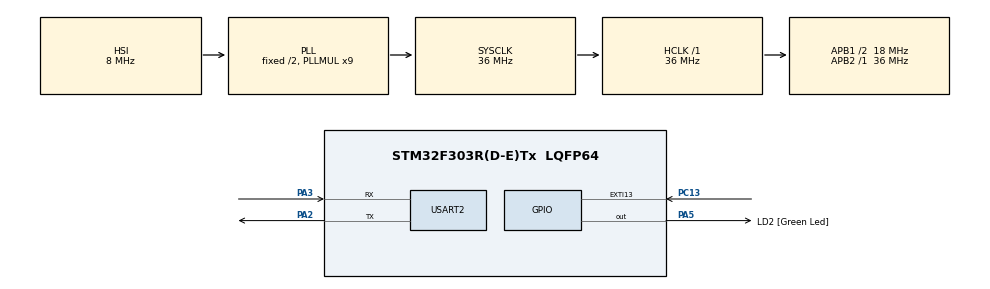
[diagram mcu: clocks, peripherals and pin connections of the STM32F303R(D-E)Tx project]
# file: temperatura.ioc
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Mcu.Family=STM32F3
Mcu.Name=STM32F303R(D-E)Tx
Mcu.Package=LQFP64
NVIC.PriorityGroup=NVIC_PRIORITYGROUP_1
NVIC.USART2_IRQn=true\:1\:0\:true\:false\:true\:true\:true\:true
PA13.GPIO_Label=TMS
PA13.Mode=Serial_Wire
PA13.Signal=SYS_JTMS-SWDIO
PA14.GPIO_Label=TCK
PA14.Mode=Serial_Wire
PA14.Signal=SYS_JTCK-SWCLK
PA2.Mode=Asynchronous
PA2.Signal=USART2_TX
PA3.Mode=Asynchronous
PA3.Signal=USART2_RX
PA5.GPIO_Label=LD2 [Green Led]
PA5.GPIO_Mode=GPIO_MODE_OUTPUT_PP
PA5.GPIO_PuPd=GPIO_NOPULL
PA5.GPIO_Speed=GPIO_SPEED_FREQ_LOW
PA5.Signal=GPIO_Output
PB3.GPIO_Label=SWO
PB3.Signal=SYS_JTDO-TRACESWO
PC13.GPIO_ModeDefaultEXTI=GPIO_MODE_IT_RISING
PC13.GPIO_PuPd=GPIO_PULLDOWN
PC13.Signal=GPXTI13
PC14-OSC32_IN.Mode=LSE-External-Oscillator
PC14-OSC32_IN.Signal=RCC_OSC32_IN
PC15-OSC32_OUT.Mode=LSE-External-Oscillator
PC15-OSC32_OUT.Signal=RCC_OSC32_OUT
PF0-OSC_IN.Mode=HSE-External-Clock-Source
PF0-OSC_IN.Signal=RCC_OSC_IN
PF1-OSC_OUT.Signal=RCC_OSC_OUT
ProjectManager.HeapSize=0x200
ProjectManager.StackSize=0x400
ProjectManager.TargetToolchain=STM32CubeIDE
RCC.AHBFreq_Value=36000000
RCC.APB1CLKDivider=RCC_HCLK_DIV2
RCC.APB1Freq_Value=18000000
RCC.APB1TimFreq_Value=36000000
RCC.APB2Freq_Value=36000000
RCC.APB2TimFreq_Value=36000000
RCC.CortexFreq_Value=36000000
RCC.HCLKFreq_Value=36000000
RCC.HSE_VALUE=8000000
RCC.HSI_VALUE=8000000
RCC.PLLM=8
RCC.PLLMUL=RCC_PLL_MUL9
RCC.PLLN=336
RCC.PLLP=RCC_PLLP_DIV4
RCC.PLLQ=7
RCC.RCC_PLLsource_Clock_Source_FROM_HSE=RCC_HSE_PREDIV_DIV2
RCC.SYSCLKFreq_VALUE=36000000
RCC.SYSCLKSourceVirtual=RCC_SYSCLKSOURCE_PLLCLK
RCC.USBFreq_Value=36000000
USART2.VirtualMode-Asynchronous=VM_ASYNC
board=NUCLEO-F303RE

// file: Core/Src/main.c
/* USER CODE BEGIN Header */
/**
  ******************************************************************************
  * @file           : main.c
  * @brief          : Main program body
  ******************************************************************************
  * @attention
  *
  * Copyright (c) 2024 STMicroelectronics.
  * All rights reserved.
  *
  * This software is licensed under terms that can be found in the LICENSE file
  * in the root directory of this software component.
  * If no LICENSE file comes with this software, it is provided AS-IS.
  *
  ******************************************************************************
  */
/* USER CODE END Header */
#include "main.h"

/* USER CODE BEGIN Includes */
#include "ds18b20.h"
#include"uart.h"
#include "string.h"
#include "stdio.h"
/* USER CODE END Includes */

/* USER CODE BEGIN PTD */
float temperatura;
char texto[16];
uint8_t UART2_rxBuffer[1] = {0};
/* USER CODE END PTD */

UART_HandleTypeDef huart2;

void SystemClock_Config(void);
static void MX_GPIO_Init(void);
static void MX_USART2_UART_Init(void);

int main(void)
{

  /* MCU Configuration--------------------------------------------------------*/

  /* Reset of all peripherals, Initializes the Flash interface and the Systick. */
  HAL_Init();

  /* USER CODE BEGIN Init */
  //removidas do code begin2
  delay_us_dwt_init();
  onewire_reset();
  /* USER CODE END Init */

  /* Configure the system clock */
  SystemClock_Config();

  /* Initialize all configured peripherals */
  MX_GPIO_Init();
  MX_USART2_UART_Init();
  /* USER CODE BEGIN 2 */
  HAL_UART_Receive_IT(&huart2, UART2_rxBuffer, 1); // Setando a interrupcao
  //uartx_write_text(&huart2, "Initialization complete\r\n");
  /* USER CODE END 2 */

  /* Infinite loop */
  while (1)
  {
  }

}

void SystemClock_Config(void)
{
  RCC_OscInitTypeDef RCC_OscInitStruct = {0};
  RCC_ClkInitTypeDef RCC_ClkInitStruct = {0};
  RCC_PeriphCLKInitTypeDef PeriphClkInit = {0};

  /** Initializes the RCC Oscillators according to the specified parameters
  * in the RCC_OscInitTypeDef structure.
  */
  RCC_OscInitStruct.OscillatorType = RCC_OSCILLATORTYPE_HSI;
  RCC_OscInitStruct.HSIState = RCC_HSI_ON;
  RCC_OscInitStruct.HSICalibrationValue = RCC_HSICALIBRATION_DEFAULT;
  RCC_OscInitStruct.PLL.PLLState = RCC_PLL_ON;
  RCC_OscInitStruct.PLL.PLLSource = RCC_PLLSOURCE_HSI;
  RCC_OscInitStruct.PLL.PLLMUL = RCC_PLL_MUL9;
  RCC_OscInitStruct.PLL.PREDIV = RCC_PREDIV_DIV1;
  if (HAL_RCC_OscConfig(&RCC_OscInitStruct) != HAL_OK)
  {
    Error_Handler();
  }

  /** Initializes the CPU, AHB and APB buses clocks
  */
  RCC_ClkInitStruct.ClockType = RCC_CLOCKTYPE_HCLK|RCC_CLOCKTYPE_SYSCLK
                              |RCC_CLOCKTYPE_PCLK1|RCC_CLOCKTYPE_PCLK2;
  RCC_ClkInitStruct.SYSCLKSource = RCC_SYSCLKSOURCE_PLLCLK;
  RCC_ClkInitStruct.AHBCLKDivider = RCC_SYSCLK_DIV1;
  RCC_ClkInitStruct.APB1CLKDivider = RCC_HCLK_DIV2;
  RCC_ClkInitStruct.APB2CLKDivider = RCC_HCLK_DIV1;

  if (HAL_RCC_ClockConfig(&RCC_ClkInitStruct, FLASH_LATENCY_1) != HAL_OK)
  {
    Error_Handler();
  }
  PeriphClkInit.PeriphClockSelection = RCC_PERIPHCLK_USART2;
  PeriphClkInit.Usart2ClockSelection = RCC_USART2CLKSOURCE_PCLK1;
  if (HAL_RCCEx_PeriphCLKConfig(&PeriphClkInit) != HAL_OK)
  {
    Error_Handler();
  }
}

static void MX_USART2_UART_Init(void)
{

  huart2.Instance = USART2;
  huart2.Init.BaudRate = 38400;
  huart2.Init.WordLength = UART_WORDLENGTH_8B;
  huart2.Init.StopBits = UART_STOPBITS_1;
  huart2.Init.Parity = UART_PARITY_NONE;
  huart2.Init.Mode = UART_MODE_TX_RX;
  huart2.Init.HwFlowCtl = UART_HWCONTROL_NONE;
  huart2.Init.OverSampling = UART_OVERSAMPLING_16;
  huart2.Init.OneBitSampling = UART_ONE_BIT_SAMPLE_DISABLE;
  huart2.AdvancedInit.AdvFeatureInit = UART_ADVFEATURE_NO_INIT;
  if (HAL_UART_Init(&huart2) != HAL_OK)
  {
    Error_Handler();
  }

}

static void MX_GPIO_Init(void)
{
  GPIO_InitTypeDef GPIO_InitStruct = {0};

  /* GPIO Ports Clock Enable */
  __HAL_RCC_GPIOC_CLK_ENABLE();
  __HAL_RCC_GPIOF_CLK_ENABLE();
  __HAL_RCC_GPIOA_CLK_ENABLE();
  __HAL_RCC_GPIOB_CLK_ENABLE();

  /*Configure GPIO pin Output Level */
  HAL_GPIO_WritePin(LD2_GPIO_Port, LD2_Pin, GPIO_PIN_RESET);

  /*Configure GPIO pin : PC13 */
  GPIO_InitStruct.Pin = GPIO_PIN_13;
  GPIO_InitStruct.Mode = GPIO_MODE_IT_RISING;
  GPIO_InitStruct.Pull = GPIO_PULLDOWN;
  HAL_GPIO_Init(GPIOC, &GPIO_InitStruct);

  /*Configure GPIO pin : LD2_Pin */
  GPIO_InitStruct.Pin = LD2_Pin;
  GPIO_InitStruct.Mode = GPIO_MODE_OUTPUT_PP;
  GPIO_InitStruct.Pull = GPIO_NOPULL;
  GPIO_InitStruct.Speed = GPIO_SPEED_FREQ_LOW;
  HAL_GPIO_Init(LD2_GPIO_Port, &GPIO_InitStruct);

}

/* USER CODE BEGIN 4 */
//void HAL_GPIO_EXTI_Callback(uint16_t GPIO_Pin)
//{
//  if(GPIO_Pin == GPIO_PIN_13){
//	temperatura=DS18b20_temp();
//	sprintf(texto,"%.2f\r\n",temperatura);
//	uartx_write_text(&huart2, texto);
//	HAL_Delay(800);
//  }
//}

// Em HAL_UART_RxCpltCallback(UART_HandleTypeDef *huart):
void HAL_UART_RxCpltCallback(UART_HandleTypeDef *huart){
	temperatura=DS18b20_temp();
	int len = sprintf(texto,"%.2f\r\n",temperatura); // Obter o tamanho real
//	uartx_write_text(&huart2, texto);
	HAL_UART_Transmit(&huart2, (uint8_t*)texto, len, 1000); // Enviar o tamanho real
	HAL_UART_Receive_IT(&huart2, UART2_rxBuffer, 1); // Setando a interrupcao
}

/* USER CODE END 4 */

void Error_Handler(void)
{
  __disable_irq();
  while (1)
  {
  }
}
